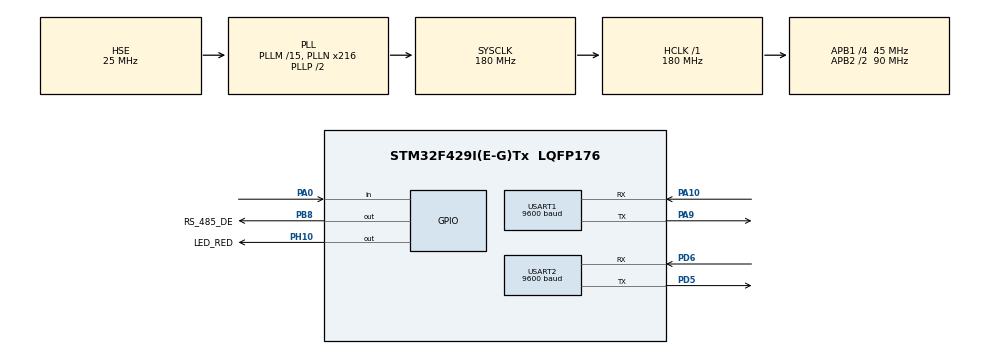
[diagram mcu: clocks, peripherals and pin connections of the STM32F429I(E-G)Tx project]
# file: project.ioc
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Mcu.Family=STM32F4
Mcu.Name=STM32F429I(E-G)Tx
Mcu.Package=LQFP176
NVIC.PriorityGroup=NVIC_PRIORITYGROUP_4
NVIC.TIM6_DAC_IRQn=true\:0\:0\:false\:false\:true\:true\:true
NVIC.TIM7_IRQn=true\:0\:0\:false\:false\:true\:false\:true
NVIC.TimeBase=TIM7_IRQn
NVIC.TimeBaseIP=TIM7
NVIC.USART2_IRQn=true\:0\:0\:false\:false\:true\:true\:true
PA0/WKUP.Signal=GPIO_Input
PA10.Mode=Asynchronous
PA10.Signal=USART1_RX
PA13.Mode=Serial_Wire
PA13.Signal=SYS_JTMS-SWDIO
PA14.Mode=Serial_Wire
PA14.Signal=SYS_JTCK-SWCLK
PA9.Mode=Asynchronous
PA9.Signal=USART1_TX
PB8.GPIO_Label=RS_485_DE
PB8.Signal=GPIO_Output
PC14/OSC32_IN.Mode=LSE-External-Oscillator
PC14/OSC32_IN.Signal=RCC_OSC32_IN
PC15/OSC32_OUT.Mode=LSE-External-Oscillator
PC15/OSC32_OUT.Signal=RCC_OSC32_OUT
PD5.Mode=Asynchronous
PD5.Signal=USART2_TX
PD6.Mode=Asynchronous
PD6.Signal=USART2_RX
PH0/OSC_IN.Mode=HSE-External-Oscillator
PH0/OSC_IN.Signal=RCC_OSC_IN
PH1/OSC_OUT.Mode=HSE-External-Oscillator
PH1/OSC_OUT.Signal=RCC_OSC_OUT
PH10.GPIO_Label=LED_RED
PH10.Signal=GPIO_Output
ProjectManager.HeapSize=0x1500
ProjectManager.StackSize=0x2000
ProjectManager.TargetToolchain=MDK-ARM V5
RCC.48MHZClocksFreq_Value=90000000
RCC.AHBFreq_Value=180000000
RCC.APB1CLKDivider=RCC_HCLK_DIV4
RCC.APB1Freq_Value=45000000
RCC.APB1TimFreq_Value=90000000
RCC.APB2CLKDivider=RCC_HCLK_DIV2
RCC.APB2Freq_Value=90000000
RCC.APB2TimFreq_Value=180000000
RCC.CortexFreq_Value=180000000
RCC.HCLKFreq_Value=180000000
RCC.HSE_VALUE=25000000
RCC.HSI_VALUE=16000000
RCC.PLLM=15
RCC.PLLN=216
RCC.PLLSourceVirtual=RCC_PLLSOURCE_HSE
RCC.SYSCLKFreq_VALUE=180000000
RCC.SYSCLKSource=RCC_SYSCLKSOURCE_PLLCLK
RCC.VCOOutputFreq_Value=360000000
TIM6.Prescaler=90-1
USART1.BaudRate=9600
USART1.VirtualMode=VM_ASYNC
USART2.BaudRate=9600
USART2.VirtualMode=VM_ASYNC
VP_SYS_VS_tim7.Mode=TIM7
VP_TIM6_VS_ClockSourceINT.Mode=Enable_Timer
board=custom

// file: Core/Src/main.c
/* USER CODE BEGIN Header */
/**
  ******************************************************************************
  * @file           : main.c
  * @brief          : Main program body
  ******************************************************************************
  * @attention
  *
  * <h2><center>&copy; Copyright (c) 2021 STMicroelectronics.
  * All rights reserved.</center></h2>
  *
  * This software component is licensed by ST under BSD 3-Clause license,
  * the "License"; You may not use this file except in compliance with the
  * License. You may obtain a copy of the License at:
  *                        opensource.org/licenses/BSD-3-Clause
  *
  ******************************************************************************
  */
#define  _PRINTF_OPEN
/* USER CODE END Header */
#include "main.h"
#include "tim.h"
#include "usart.h"
#include "gpio.h"

void SystemClock_Config(void);
/* USER CODE BEGIN PFP */
u8 modbus_send_frame(mb_frameHandle *fx1,mb_frameHandle *fx2);
/* USER CODE END PFP */

/* USER CODE BEGIN 0 */
mb_frameHandle fx_1;
mb_frameHandle fx_2;

/* USER CODE END 0 */

int main(void)
{

  /* MCU Configuration--------------------------------------------------------*/

  /* Reset of all peripherals, Initializes the Flash interface and the Systick. */
  HAL_Init();

  /* Configure the system clock */
  SystemClock_Config();

  /* Initialize all configured peripherals */
  MX_GPIO_Init();
  MX_USART1_UART_Init();
  MX_USART2_UART_Init();
  MX_TIM6_Init();
  /* USER CODE BEGIN 2 */
    HAL_GPIO_WritePin(GPIOH,GPIO_PIN_10,GPIO_PIN_SET);  //打开LED_RED

   mb_init(0,&huart2,9600);
  /* USER CODE END 2 */

  /* Infinite loop */
    while(1)
    {

    /* USER CODE BEGIN 3 */
        if(HAL_GPIO_ReadPin(GPIOA, GPIO_PIN_0) == GPIO_PIN_SET)
        {
            while(1)
            {
                if(HAL_GPIO_ReadPin(GPIOA, GPIO_PIN_0) == GPIO_PIN_RESET)
                {
                    //发送报文区域
                    modbus_send_frame(&fx_1,&fx_2);
                    break;
                }
            }
        }
      HAL_Delay(50);
    }
  /* USER CODE END 3 */
}

void SystemClock_Config(void)
{
  RCC_OscInitTypeDef RCC_OscInitStruct = {0};
  RCC_ClkInitTypeDef RCC_ClkInitStruct = {0};

  /** Configure the main internal regulator output voltage
  */
  __HAL_RCC_PWR_CLK_ENABLE();
  __HAL_PWR_VOLTAGESCALING_CONFIG(PWR_REGULATOR_VOLTAGE_SCALE1);
  /** Initializes the RCC Oscillators according to the specified parameters
  * in the RCC_OscInitTypeDef structure.
  */
  RCC_OscInitStruct.OscillatorType = RCC_OSCILLATORTYPE_HSE;
  RCC_OscInitStruct.HSEState = RCC_HSE_ON;
  RCC_OscInitStruct.PLL.PLLState = RCC_PLL_ON;
  RCC_OscInitStruct.PLL.PLLSource = RCC_PLLSOURCE_HSE;
  RCC_OscInitStruct.PLL.PLLM = 15;
  RCC_OscInitStruct.PLL.PLLN = 216;
  RCC_OscInitStruct.PLL.PLLP = RCC_PLLP_DIV2;
  RCC_OscInitStruct.PLL.PLLQ = 4;
  if (HAL_RCC_OscConfig(&RCC_OscInitStruct) != HAL_OK)
  {
    Error_Handler();
  }
  /** Activate the Over-Drive mode
  */
  if (HAL_PWREx_EnableOverDrive() != HAL_OK)
  {
    Error_Handler();
  }
  /** Initializes the CPU, AHB and APB buses clocks
  */
  RCC_ClkInitStruct.ClockType = RCC_CLOCKTYPE_HCLK|RCC_CLOCKTYPE_SYSCLK
                              |RCC_CLOCKTYPE_PCLK1|RCC_CLOCKTYPE_PCLK2;
  RCC_ClkInitStruct.SYSCLKSource = RCC_SYSCLKSOURCE_PLLCLK;
  RCC_ClkInitStruct.AHBCLKDivider = RCC_SYSCLK_DIV1;
  RCC_ClkInitStruct.APB1CLKDivider = RCC_HCLK_DIV4;
  RCC_ClkInitStruct.APB2CLKDivider = RCC_HCLK_DIV2;

  if (HAL_RCC_ClockConfig(&RCC_ClkInitStruct, FLASH_LATENCY_5) != HAL_OK)
  {
    Error_Handler();
  }
}

/* USER CODE BEGIN 4 */

//发送一帧数据并接收一帧数据 //如果发送的是多个线圈，记得count*8 线圈只能以1个字节的形式发送
//fx:帧指针
u8 modbus_send_frame(mb_frameHandle *fx1,mb_frameHandle *fx2)
{
    m_result res;
    u16 data[1] = {0x0001};

    fx1->address = 1;
    fx1->count = 0x03;
    fx1->regAdds = 0x0000;
    fx1->data = data;
    mb_framePackSend(fx1);
    for(u8 i = 0; i<10; i++)
    {
      if(m_ctrl_dev.frameok ==1)
      {
        res = mb_unpack_frame(fx2);
         if(res == MR_OK)
         {
            return 1;
         }
      }
      HAL_Delay(10);
    }
    return 0;
}

//串口接收完成回调
void HAL_UART_RxCpltCallback(UART_HandleTypeDef *huart)
{
   MY_HAL_UART_RxCpltCallback(huart);
}

/* USER CODE END 4 */

 /**
  * @brief  Period elapsed callback in non blocking mode
  * @note   This function is called  when TIM7 interrupt took place, inside
  * HAL_TIM_IRQHandler(). It makes a direct call to HAL_IncTick() to increment
  * a global variable "uwTick" used as application time base.
  * @param  htim : TIM handle
  * @retval None
  */
void HAL_TIM_PeriodElapsedCallback(TIM_HandleTypeDef *htim)
{
  if (htim->Instance == TIM7) {
    HAL_IncTick();
  }
  /* USER CODE BEGIN Callback 1 */
  MY_HAL_TIM_PeriodElapsedCallback(htim);
  /* USER CODE END Callback 1 */
}

void Error_Handler(void)
{
    __disable_irq();
    while(1)
    {
    }
}

/************************ (C) COPYRIGHT STMicroelectronics *****END OF FILE****/
